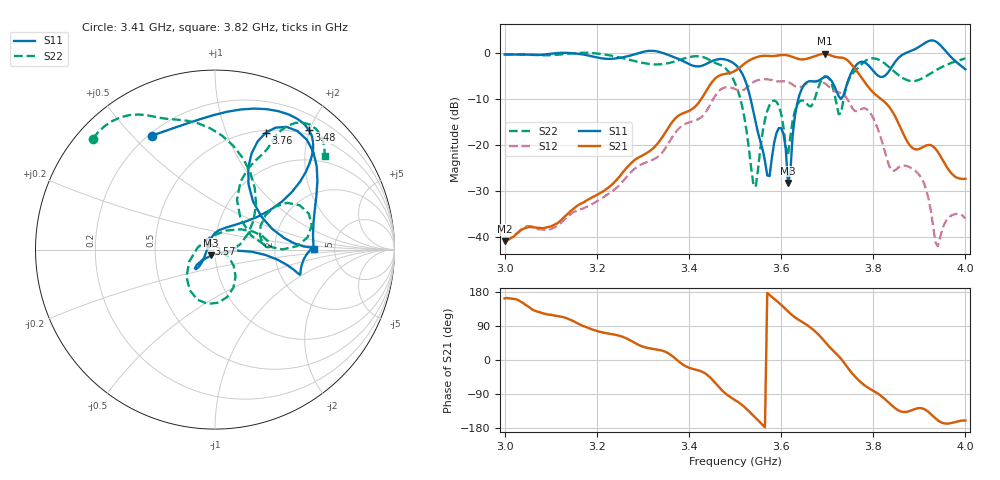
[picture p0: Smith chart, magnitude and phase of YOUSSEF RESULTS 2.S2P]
!Agilent Technologies,E5071C,MY46520292,B.13.20
!Date: Sun Dec 10 03:25:54 2023
!Data & Calibration Information:
!Freq	S11:SOLT2(ON)	S21:SOLT2(ON)	S12:SOLT2(ON)	S22:SOLT2(ON)
!PortZ  Port1:50+j0  Port2:50+j0
!Above PortZ is port z conversion or system Z0 setting when saving the data.
!When reading, reference impedance value at option line is always used.
# Hz S dB R 50
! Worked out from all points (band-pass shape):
!   201 points, 3 GHz to 4 GHz, reference 50 ohm
!   highest |S21| = -0.17 dB at 3.695 GHz (marker M1); lowest = -41.0 dB at 3 GHz (marker M2)
!   |S21| within 3 dB of the highest: 3.51 GHz to 3.758 GHz (248.4 MHz wide, 6.84 % of centre)
!   lowest |S11| = -28.2 dB at 3.615 GHz (marker M3), VSWR 1.08, Z = 47.9 - j3.14 ohm
!   |S11| at or under -10 dB: 3.534 GHz to 3.638 GHz (103.7 MHz wide, 2.89 % of centre)
!   |S22| runs from -29.1 to 0.1 dB; largest |S21 - S12| = 0.62
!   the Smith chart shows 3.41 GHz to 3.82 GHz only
!   S11 on the Smith chart (normalised r, x): 3.41 GHz: 0.21, +0.57; 3.48 GHz: 0.42, +1.98; 3.57 GHz: 0.93, +0.06; 3.76 GHz: 0.53, +1.39; 3.82 GHz: 3.44, +0.05
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3e9  -0.30 -84.5  -40.96 162.5  -40.87 163.6  -0.28 -76.3
3.17e9  -0.32 -120.1  -32.55 89.8  -33.82 85.6  0.05 -110.7
3.335e9  0.26 173.3  -19.30 26.7  -22.35 13.8  -2.47 -173.3
3.41e9  -2.79 118.9  -11.96 -23.9  -14.78 -39.7  -0.73 137.7
3.48e9  -1.43 52.0  -4.51 -89.0  -7.43 -104.1  -3.39 92.3
3.5e9  -2.46 44.2  -3.88 -105.7  -7.83 -130.0  -6.51 65.5
3.54e9  -12.79 42.8  -1.16 -146.9  -6.31 -161.7  -28.66 -31.8
3.57e9  -26.61 136.6  -0.63 176.8  -5.72 159.9  -12.59 -64.0
3.6e9  -16.28 -136.9  -0.45 145.7  -6.16 127.8  -13.15 -136.2
3.615e9  -28.21 -122.4  -0.53 128.3  -6.26 109.8  -22.35 107.1
3.635e9  -10.94 -6.1  -1.21 108.5  -7.43 91.8  -11.24 16.0
3.67e9  -6.17 -13.8  -0.80 79.6  -6.10 57.2  -10.84 27.7
3.695e9  -5.22 1.1  -0.17 48.4  -6.58 19.8  -5.04 21.0
3.725e9  -9.39 19.7  -0.94 10.1  -8.59 -15.9  -13.30 21.1
3.76e9  -2.98 66.6  -3.36 -43.0  -12.57 -57.3  -3.95 62.5
3.82e9  -5.20 0.5  -10.23 -97.7  -19.55 -146.3  -1.91 40.4
3.835e9  -3.83 -23.1  -11.77 -113.9  -24.64 -145.6  -3.11 33.3
3.865e9  -0.28 -53.0  -17.50 -137.3  -24.44 -139.7  -5.49 13.9
3.9e9  1.38 -46.9  -20.84 -126.9  -26.50 177.3  -5.79 -19.3
3.93e9  2.72 -44.7  -20.31 -148.6  -37.63 138.8  -4.09 -42.7
3.94e9  2.22 -46.7  -21.47 -159.1  -41.98 -177.7  -3.52 -48.5
4e9  -3.53 -56.6  -27.35 -159.7  -35.99 156.5  -1.17 -58.1
